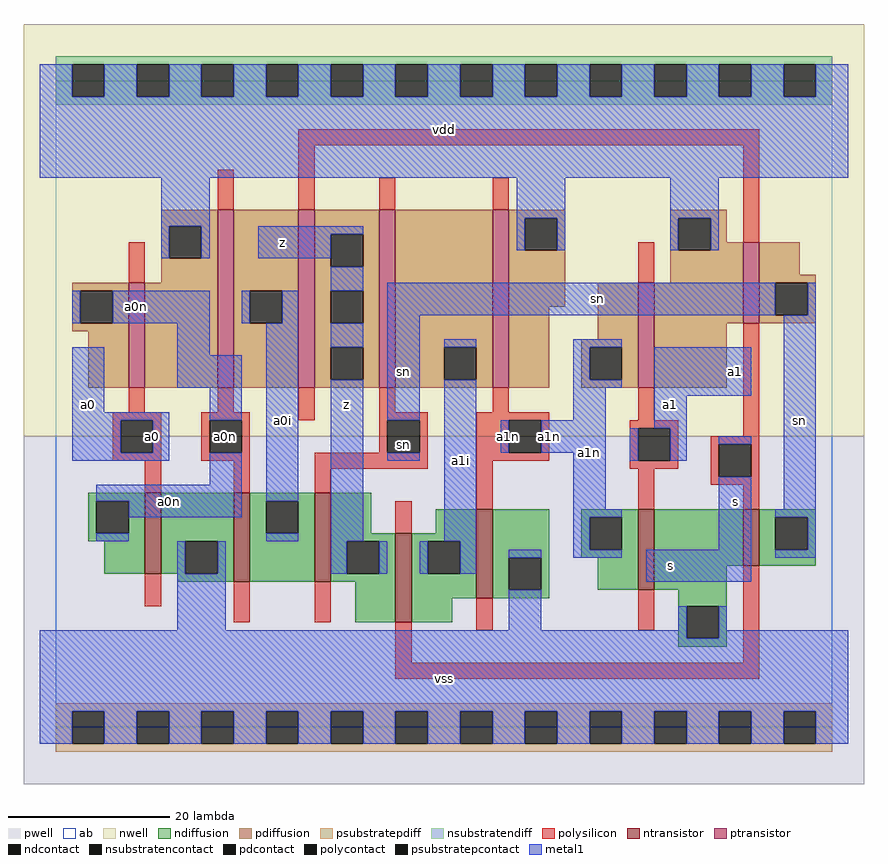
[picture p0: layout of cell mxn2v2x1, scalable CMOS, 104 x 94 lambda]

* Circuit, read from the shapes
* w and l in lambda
.subckt mxn2v2x1 a0 a0i a0n a1 a1i a1n s sn vdd vss z
M1 vss a0 a0n vss nfet w=10 l=2
M2 a0i a0n vss vss nfet w=11 l=2
M3 z sn a0i vss nfet w=11 l=2
M4 a1i s z vss nfet w=11 l=2
M5 vss a1n a1i vss nfet w=11 l=2
M6 vss a1 a1n vss nfet w=10 l=2
M7 sn s vss vss nfet w=7 l=2
M8 vdd a0 a0n vdd pfet w=13 l=2
M9 a0i a0n vdd vdd pfet w=22 l=2
M10 z s a0i vdd pfet w=22 l=2
M11 a1i sn z vdd pfet w=22 l=2
M12 vdd a1n a1i vdd pfet w=22 l=2
M13 vdd a1 a1n vdd pfet w=13 l=2
M14 sn s vdd vdd pfet w=10 l=2
.ends

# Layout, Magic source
magic
tech scmos
<< ab >>
rect 0 0 96 80
<< pwell >>
rect -4 -7 100 36
<< nwell >>
rect -4 36 100 87
<< polysilicon >>
rect 30 72 87 74
rect 20 64 22 69
rect 30 64 32 72
rect 40 64 42 68
rect 54 64 56 68
rect 9 55 11 60
rect 72 55 74 60
rect 85 60 87 72
rect 9 39 11 42
rect 20 39 22 42
rect 7 38 13 39
rect 7 34 8 38
rect 12 34 13 38
rect 7 33 13 34
rect 18 38 24 39
rect 30 38 32 42
rect 40 39 42 42
rect 54 39 56 42
rect 40 38 46 39
rect 18 34 19 38
rect 23 34 24 38
rect 40 34 41 38
rect 45 34 46 38
rect 18 33 24 34
rect 11 29 13 33
rect 22 29 24 33
rect 32 32 46 34
rect 52 38 61 39
rect 72 38 74 42
rect 52 34 56 38
rect 60 34 61 38
rect 52 33 61 34
rect 71 37 77 38
rect 71 33 72 37
rect 76 33 77 37
rect 85 36 87 50
rect 32 29 34 32
rect 11 15 13 19
rect 42 24 44 28
rect 52 27 54 33
rect 71 32 77 33
rect 81 35 87 36
rect 72 27 74 32
rect 81 31 82 35
rect 86 31 87 35
rect 81 30 87 31
rect 85 27 87 30
rect 22 13 24 18
rect 32 13 34 18
rect 42 8 44 13
rect 52 12 54 16
rect 72 12 74 17
rect 85 8 87 20
rect 42 6 87 8
<< ndiffusion >>
rect 4 28 11 29
rect 4 24 5 28
rect 9 24 11 28
rect 4 23 11 24
rect 6 19 11 23
rect 13 23 22 29
rect 13 19 16 23
rect 20 19 22 23
rect 15 18 22 19
rect 24 28 32 29
rect 24 24 26 28
rect 30 24 32 28
rect 24 18 32 24
rect 34 24 39 29
rect 47 24 52 27
rect 34 23 42 24
rect 34 19 36 23
rect 40 19 42 23
rect 34 18 42 19
rect 37 13 42 18
rect 44 23 52 24
rect 44 19 46 23
rect 50 19 52 23
rect 44 16 52 19
rect 54 21 61 27
rect 65 26 72 27
rect 65 22 66 26
rect 70 22 72 26
rect 65 21 72 22
rect 54 17 56 21
rect 60 17 61 21
rect 67 17 72 21
rect 74 20 85 27
rect 87 26 94 27
rect 87 22 89 26
rect 93 22 94 26
rect 87 20 94 22
rect 74 17 83 20
rect 54 16 61 17
rect 44 13 49 16
rect 77 15 83 17
rect 77 11 78 15
rect 82 11 83 15
rect 77 10 83 11
<< pdiffusion >>
rect 13 62 20 64
rect 13 58 14 62
rect 18 58 20 62
rect 13 55 20 58
rect 2 54 9 55
rect 2 50 3 54
rect 7 50 9 54
rect 2 49 9 50
rect 4 42 9 49
rect 11 42 20 55
rect 22 54 30 64
rect 22 50 24 54
rect 28 50 30 54
rect 22 42 30 50
rect 32 61 40 64
rect 32 57 34 61
rect 38 57 40 61
rect 32 54 40 57
rect 32 50 34 54
rect 38 50 40 54
rect 32 47 40 50
rect 32 43 34 47
rect 38 43 40 47
rect 32 42 40 43
rect 42 47 54 64
rect 42 43 48 47
rect 52 43 54 47
rect 42 42 54 43
rect 56 63 63 64
rect 56 59 58 63
rect 62 59 63 63
rect 76 63 83 64
rect 56 52 63 59
rect 76 59 77 63
rect 81 60 83 63
rect 81 59 85 60
rect 76 55 85 59
rect 56 42 61 52
rect 67 48 72 55
rect 65 47 72 48
rect 65 43 66 47
rect 70 43 72 47
rect 65 42 72 43
rect 74 50 85 55
rect 87 56 92 60
rect 87 55 94 56
rect 87 51 89 55
rect 93 51 94 55
rect 87 50 94 51
rect 74 42 83 50
<< metal1 >>
rect -2 78 2 82
rect 6 78 10 82
rect 14 78 18 82
rect 22 78 26 82
rect 30 78 34 82
rect 38 78 42 82
rect 46 78 50 82
rect 54 78 58 82
rect 62 78 66 82
rect 70 78 74 82
rect 78 78 82 82
rect 86 78 90 82
rect 94 78 98 82
rect -2 68 98 78
rect 13 62 19 68
rect 57 63 63 68
rect 13 58 14 62
rect 18 58 19 62
rect 25 61 38 62
rect 25 58 34 61
rect 57 59 58 63
rect 62 59 63 63
rect 76 63 82 68
rect 76 59 77 63
rect 81 59 82 63
rect 34 54 38 57
rect 2 50 3 54
rect 7 50 19 54
rect 23 50 24 54
rect 28 50 30 54
rect 2 39 6 47
rect 15 46 19 50
rect 15 42 23 46
rect 2 38 14 39
rect 2 34 8 38
rect 12 34 14 38
rect 2 33 14 34
rect 19 38 23 42
rect 19 30 23 34
rect 5 28 23 30
rect 9 26 23 28
rect 26 28 30 50
rect 5 23 9 24
rect 26 23 30 24
rect 34 47 38 50
rect 34 23 38 43
rect 41 51 89 55
rect 93 51 94 55
rect 41 38 45 51
rect 41 33 45 34
rect 48 47 52 48
rect 48 23 52 43
rect 64 47 70 48
rect 64 43 66 47
rect 64 42 70 43
rect 64 38 68 42
rect 55 34 56 38
rect 60 34 68 38
rect 74 41 86 47
rect 74 37 78 41
rect 15 19 16 23
rect 20 19 21 23
rect 34 19 36 23
rect 40 19 41 23
rect 45 19 46 23
rect 50 19 52 23
rect 64 27 68 34
rect 71 33 72 37
rect 76 33 78 37
rect 82 35 86 36
rect 64 26 70 27
rect 64 22 66 26
rect 82 22 86 31
rect 90 27 94 51
rect 56 21 60 22
rect 64 21 70 22
rect 15 12 21 19
rect 73 18 86 22
rect 89 26 94 27
rect 93 22 94 26
rect 89 21 94 22
rect 56 12 60 17
rect 77 12 78 15
rect -2 11 78 12
rect 82 12 83 15
rect 82 11 98 12
rect -2 2 98 11
rect -2 -2 2 2
rect 6 -2 10 2
rect 14 -2 18 2
rect 22 -2 26 2
rect 30 -2 34 2
rect 38 -2 42 2
rect 46 -2 50 2
rect 54 -2 58 2
rect 62 -2 66 2
rect 70 -2 74 2
rect 78 -2 82 2
rect 86 -2 90 2
rect 94 -2 98 2
<< ntransistor >>
rect 11 19 13 29
rect 22 18 24 29
rect 32 18 34 29
rect 42 13 44 24
rect 52 16 54 27
rect 72 17 74 27
rect 85 20 87 27
<< ptransistor >>
rect 9 42 11 55
rect 20 42 22 64
rect 30 42 32 64
rect 40 42 42 64
rect 54 42 56 64
rect 72 42 74 55
rect 85 50 87 60
<< polycontact >>
rect 8 34 12 38
rect 19 34 23 38
rect 41 34 45 38
rect 56 34 60 38
rect 72 33 76 37
rect 82 31 86 35
<< ndcontact >>
rect 5 24 9 28
rect 16 19 20 23
rect 26 24 30 28
rect 36 19 40 23
rect 46 19 50 23
rect 66 22 70 26
rect 56 17 60 21
rect 89 22 93 26
rect 78 11 82 15
<< pdcontact >>
rect 14 58 18 62
rect 3 50 7 54
rect 24 50 28 54
rect 34 57 38 61
rect 34 50 38 54
rect 34 43 38 47
rect 48 43 52 47
rect 58 59 62 63
rect 77 59 81 63
rect 66 43 70 47
rect 89 51 93 55
<< psubstratepcontact >>
rect 2 -2 6 2
rect 10 -2 14 2
rect 18 -2 22 2
rect 26 -2 30 2
rect 34 -2 38 2
rect 42 -2 46 2
rect 50 -2 54 2
rect 58 -2 62 2
rect 66 -2 70 2
rect 74 -2 78 2
rect 82 -2 86 2
rect 90 -2 94 2
<< nsubstratencontact >>
rect 2 78 6 82
rect 10 78 14 82
rect 18 78 22 82
rect 26 78 30 82
rect 34 78 38 82
rect 42 78 46 82
rect 50 78 54 82
rect 58 78 62 82
rect 66 78 70 82
rect 74 78 78 82
rect 82 78 86 82
rect 90 78 94 82
<< psubstratepdiff >>
rect 0 2 96 3
rect 0 -2 2 2
rect 6 -2 10 2
rect 14 -2 18 2
rect 22 -2 26 2
rect 30 -2 34 2
rect 38 -2 42 2
rect 46 -2 50 2
rect 54 -2 58 2
rect 62 -2 66 2
rect 70 -2 74 2
rect 78 -2 82 2
rect 86 -2 90 2
rect 94 -2 96 2
rect 0 -3 96 -2
<< nsubstratendiff >>
rect 0 82 96 83
rect 0 78 2 82
rect 6 78 10 82
rect 14 78 18 82
rect 22 78 26 82
rect 30 78 34 82
rect 38 78 42 82
rect 46 78 50 82
rect 54 78 58 82
rect 62 78 66 82
rect 70 78 74 82
rect 78 78 82 82
rect 86 78 90 82
rect 94 78 96 82
rect 0 77 96 78
<< labels >>
rlabel polycontact 21 36 21 36 6 a0n
rlabel polycontact 43 35 43 35 6 sn
rlabel polysilicon 56 36 56 36 6 a1n
rlabel metal1 4 40 4 40 6 a0
rlabel metal1 12 36 12 36 6 a0
rlabel metal1 14 28 14 28 6 a0n
rlabel polycontact 21 36 21 36 6 a0n
rlabel metal1 10 52 10 52 6 a0n
rlabel metal1 28 38 28 38 6 a0i
rlabel metal1 28 60 28 60 6 z
rlabel metal1 48 6 48 6 6 vss
rlabel metal1 36 40 36 40 6 z
rlabel metal1 43 44 43 44 6 sn
rlabel metal1 50 33 50 33 6 a1i
rlabel metal1 48 74 48 74 6 vdd
rlabel metal1 76 20 76 20 6 s
rlabel metal1 61 36 61 36 6 a1n
rlabel metal1 76 40 76 40 6 a1
rlabel metal1 66 34 66 34 6 a1n
rlabel metal1 84 28 84 28 6 s
rlabel metal1 84 44 84 44 6 a1
rlabel metal1 92 38 92 38 6 sn
rlabel metal1 67 53 67 53 6 sn
<< end >>
